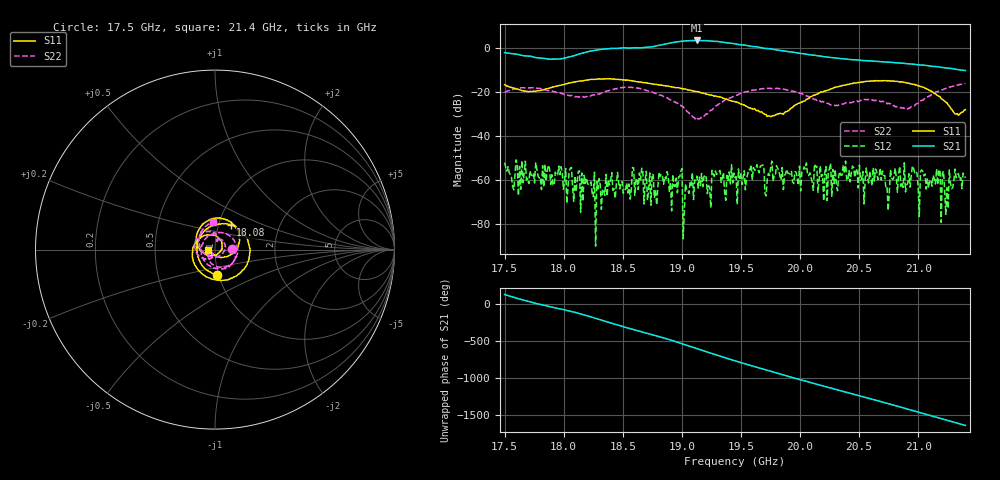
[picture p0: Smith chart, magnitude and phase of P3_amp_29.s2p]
!Created with skrf (http://scikit-rf.org).
# GHz S RI R 50.0
!freq ReS11 ImS11 ReS21 ImS21 ReS12 ImS12 ReS22 ImS22
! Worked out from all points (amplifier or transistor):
!   401 points, 17.5 GHz to 21.4 GHz, reference 50 ohm
!   highest |S21| = 3.3 dB at 19.13 GHz (marker M1)
!   |S21| within 3 dB of that: 18.72 GHz to 19.65 GHz (928.1 MHz wide, 4.84 % of centre)
!   unconditionally stable (mu >= 1): start of sweep to end of sweep
!   at 18.14 GHz: K = 3543.82, MAG = -2.6 dB, |S12| = -74.6 dB
!   at 19.45 GHz: K = 357.54, MAG = 1.8 dB, |S12| = -58.9 dB
!   at 21.4 GHz: K = 1439.65, MAG = -10.3 dB, |S12| = -59.0 dB
!   S11 on the Smith chart (normalised r, x): 17.5 GHz: 0.98, -0.29; 18.08 GHz: 1.14, +0.32; 21.4 GHz: 0.92, -0.00
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17.5  0.00945 -0.1437  -0.4868 0.5989  -0.00246 0.000292  0.0971 0.00255
17.74375  -0.1026 0.0151  0.5837 0.1821  0.000591 0.0013  0.0793 -0.0951
18.07525  0.0879 0.1369  -0.1532 -0.6227  0.000694 -3.93e-06  -0.0739 -0.0317
18.15325  0.1411 0.1049  -0.5443 -0.505  0.00143 -0.00011  -0.0742 0.0174
18.28975  0.1946 0.00407  -0.8302 0.3341  0.000545 -0.000304  -0.0109 0.0887
18.44575  0.1463 -0.1239  0.1302 0.9498  0.000631 -0.000466  0.1008 0.0574
18.62125  0.00931 -0.169  0.9948 0.011  -0.000848 -0.000689  0.0925 -0.0795
18.8065  -0.1058 -0.097  0.2115 -1.115  0.000269 -0.00147  -0.0093 -0.085
18.99175  -0.1171 0.0217  -1.371 -0.2201  -0.00133 0.000858  -0.0368 -0.0327
19.12825  -0.0676 0.0754  -0.6609 1.297  -0.000417 0.00115  -0.0161 -0.0192
19.20625  -0.0346 0.0812  0.346 1.395  0.000443 0.00106  -0.00895 -0.03
19.30375  0.00357 0.0774  1.243 0.5962  0.00142 0.000213  -0.0179 -0.0468
19.45  0.0351 0.0482  0.8212 -0.9084  0.00112 -0.000143  -0.0632 -0.0505
19.55725  0.0391 0.0228  -0.1832 -1.092  0.00122 0.000636  -0.0984 -0.0261
19.723  0.0237 -0.0141  -0.9522 -0.0703  0.000207 -0.00101  -0.1074 0.0524
19.90825  -0.0197 -0.0325  -0.1281 0.7976  0.000767 -0.00118  -0.035 0.1015
20.10325  -0.0797 -0.00605  0.6621 0.1456  -0.000851 0.000305  0.0159 0.0671
20.347  -0.0972 0.0939  -0.0306 -0.5652  -0.000903 0.000893  0.0134 0.0506
20.542  -0.032 0.165  -0.5093 -0.0243  0.000244 0.000148  0.0363 0.0561
20.7565  0.0847 0.1555  0.0127 0.4682  -0.00055 -8.66e-05  0.0538 -0.00253
21.11725  0.0984 -0.0211  0.1029 -0.3624  0.000223 -0.00069  -0.0862 0.0173
21.4  -0.0391 -0.000504  -0.2801 0.1154  -0.000951 -0.000587  -0.00858 0.155
